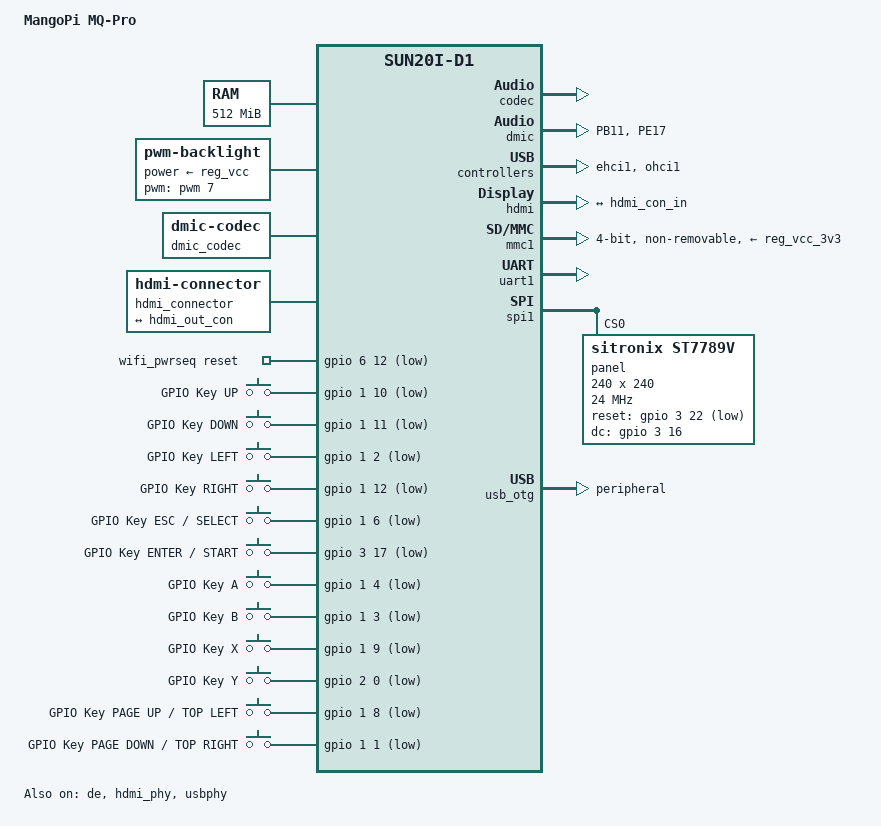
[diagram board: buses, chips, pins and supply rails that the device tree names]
// SPDX-License-Identifier: (GPL-2.0+ or MIT)
// Copyright (C) 2022 Jisheng Zhang <jszhang@kernel.org>
// Copyright (C) 2022 Samuel Holland <samuel@sholland.org>

#include <dt-bindings/input/input.h>

#include "sun20i-d1-lichee-rv.dts"

/ {
	model = "MangoPi MQ-Pro";
	compatible = "mangopi,mq-pro",
		     "allwinner,sun20i-d1";

	aliases {
		mmc1 = &mmc1;
		ethernet0 = &emac;
	};

  memory@40000000 {
    device_type = "memory";
    reg = <0x40000000 0x20000000>;
  };

	backlight: backlight {
		compatible = "pwm-backlight";
		power-supply = <&reg_vcc>;
		pwms = <&pwm 7 50000 0>;
	};

	dmic-card {
		compatible = "simple-audio-card";
		#address-cells = <1>;
		#size-cells = <0>;

		simple-audio-card,dai-link@0 {
			format = "pdm";
			frame-master = <&link0_cpu>;
			bitclock-master = <&link0_cpu>;

			link0_cpu: cpu {
				sound-dai = <&dmic>;
			};

			link0_codec: codec {
				sound-dai = <&dmic_codec>;
			};
		};
	};

	dmic_codec: dmic-codec {
		compatible = "dmic-codec";
		num-channels = <2>;
		#sound-dai-cells = <0>;
	};

  /*
	spi-gpio {
		compatible = "spi-gpio";
		cs-gpios = <&gpio 3 10 GPIO_ACTIVE_LOW>; // PD10
		mosi-gpios = <&gpio 3 12 GPIO_ACTIVE_HIGH>; // PD12
		sck-gpios = <&gpio 3 11 GPIO_ACTIVE_HIGH>; // PD11
		num-chipselects = <1>;
		#address-cells = <1>;
		#size-cells = <0>;

		panel@0 {
			compatible = "sitronix,st7789v";
			reg = <0>;
			backlight = <&backlight>;
			reset-gpios = <&gpio 3 14 GPIO_ACTIVE_LOW>; // PD14
			spi-3wire;
      width = <240>;
      height = <240>;
      txbuflen = <32768>;
      // from d1-lichee-rv-86-panel.dts
      // port {
      //   panel_in_tcon_lcd0: endpoint {
      //     remote-endpoint = <&tcon_lcd0_out_panel>;
      //   };
      // };
		};
	};
  */

	hdmi_connector: connector {
		compatible = "hdmi-connector";
		type = "a";

		port {
			hdmi_con_in: endpoint {
				remote-endpoint = <&hdmi_out_con>;
			};
		};
	};

	wifi_pwrseq: wifi-pwrseq {
		compatible = "mmc-pwrseq-simple";
		reset-gpios = <&gpio 6 12 GPIO_ACTIVE_LOW>; /* PG12 */
	};

  // see https://gist.github.com/rickyzhang82/8581a762c9f9fc6ddb8390872552c250
  // for key code table (fbcon)
	gpio-keys {
			compatible = "gpio-keys";
			autorepeat;

			up {
					label = "GPIO Key UP";
					linux,code = <103>;
					gpios = <&gpio 1 10 GPIO_ACTIVE_LOW>;
			};

			down {
					label = "GPIO Key DOWN";
					linux,code = <108>;
					gpios = <&gpio 1 11 GPIO_ACTIVE_LOW>;
			};

      left {
          label = "GPIO Key LEFT";
          linux,code = <105>;
					gpios = <&gpio 1 2 GPIO_ACTIVE_LOW>;
      };

      right {
          label = "GPIO Key RIGHT";
          linux,code = <106>;
					gpios = <&gpio 1 12 GPIO_ACTIVE_LOW>;
      };

      select {
          label = "GPIO Key ESC / SELECT";
          linux,code = <1>;
					gpios = <&gpio 1 6 GPIO_ACTIVE_LOW>;
      };

      start {
          label = "GPIO Key ENTER / START";
          linux,code = <28>;
					gpios = <&gpio 3 17 GPIO_ACTIVE_LOW>;
      };

      a {
          label = "GPIO Key A";
          linux,code = <30>;
					gpios = <&gpio 1 4 GPIO_ACTIVE_LOW>;
      };

      b {
          label = "GPIO Key B";
          linux,code = <48>;
					gpios = <&gpio 1 3 GPIO_ACTIVE_LOW>;
      };

      x {
          label = "GPIO Key X";
          linux,code = <45>;
					gpios = <&gpio 1 9 GPIO_ACTIVE_LOW>;
      };

      y {
          label = "GPIO Key Y";
          linux,code = <21>;
					gpios = <&gpio 2 0 GPIO_ACTIVE_LOW>;
      };

      topleft {
          label = "GPIO Key PAGE UP / TOP LEFT";
          linux,code = <104>;
					gpios = <&gpio 1 8 GPIO_ACTIVE_LOW>;
      };

      topright {
          label = "GPIO Key PAGE DOWN / TOP RIGHT";
          linux,code = <109>;
					gpios = <&gpio 1 1 GPIO_ACTIVE_LOW>;
      };
  };
};

&codec {
	allwinner,routing = "Internal Speaker", "HPOUTL",
			    "Internal Speaker", "HPOUTR",
			    "LINEINL", "HPOUTL",
			    "LINEINR", "HPOUTR",
			    "MICIN3", "Internal Microphone",
			    "Internal Microphone", "HBIAS";
	allwinner,widgets = "Microphone", "Internal Microphone",
			    "Speaker", "Internal Speaker";
	status = "okay";
};

&de {
	status = "okay";
};

&dmic {
	pinctrl-0 = <&dmic_pb11_d0_pin>, <&dmic_pe17_clk_pin>;
	pinctrl-names = "default";
	status = "okay";
};

&ehci1 {
	status = "okay";
};

&gpio {
	dmic_pb11_d0_pin: dmic-pb11-d0-pin {
		pins = "PB11";
		function = "dmic";
	};

	dmic_pe17_clk_pin: dmic-pe17-clk-pin {
		pins = "PE17";
		function = "dmic";
	};
};

&hdmi {
	status = "okay";

	port {
		hdmi_out_con: endpoint {
			remote-endpoint = <&hdmi_con_in>;
		};
	};
};

&hdmi_phy {
	status = "okay";
};

&mmc1 {
	bus-width = <4>;
	mmc-pwrseq = <&wifi_pwrseq>;
	non-removable;
	vmmc-supply = <&reg_vcc_3v3>;
	vqmmc-supply = <&reg_vcc_3v3>;
	pinctrl-0 = <&mmc1_pins>;
	pinctrl-names = "default";
	status = "okay";
};

&ohci0 {
	status = "disabled";
};

&ehci0 {
	status = "disabled";
};

&ohci1 {
	status = "okay";
};

&uart0 {
	status = "disabled";
};

&uart1 {
	pinctrl-0 = <&uart1_pg6_pins>, <&uart1_pg8_rts_cts_pins>;
	pinctrl-names = "default";
	status = "okay";
};

&spi1 {
  pinctrl-0 = <&spi1_pd_pins>;
  pinctrl-names = "default";
  status = "okay";
  num-cs = <1>;

  panel@0 {
    compatible = "sitronix,st7789v";
    buswidth = <0x8>;
    reg = <0>;
    reset-gpios = <&gpio 3 22 GPIO_ACTIVE_LOW>; /* PD22 */
    dc-gpios = <&gpio 3 16 GPIO_ACTIVE_HIGH>; /* PD16 */
    spi-max-frequency = <24000000>;
    width = <240>;
    height = <240>;
    txbuflen = <32768>;
    spi-cpol;
    spi-cpha;
    rotate = <180>;
    fps = <25>;
    status = "okay";
  };
};

&usbphy {
	usb1_vbus-supply = <&reg_vcc>;
};

&usb_otg {
	dr_mode = "peripheral";
	status = "okay";
};

&usbphy {
	usb0_vbus-supply = <&reg_vcc>;
	usb0_vbus_det-gpios = <&gpio 3 20 GPIO_ACTIVE_HIGH>; /* PD20 */
	status = "okay";
};
